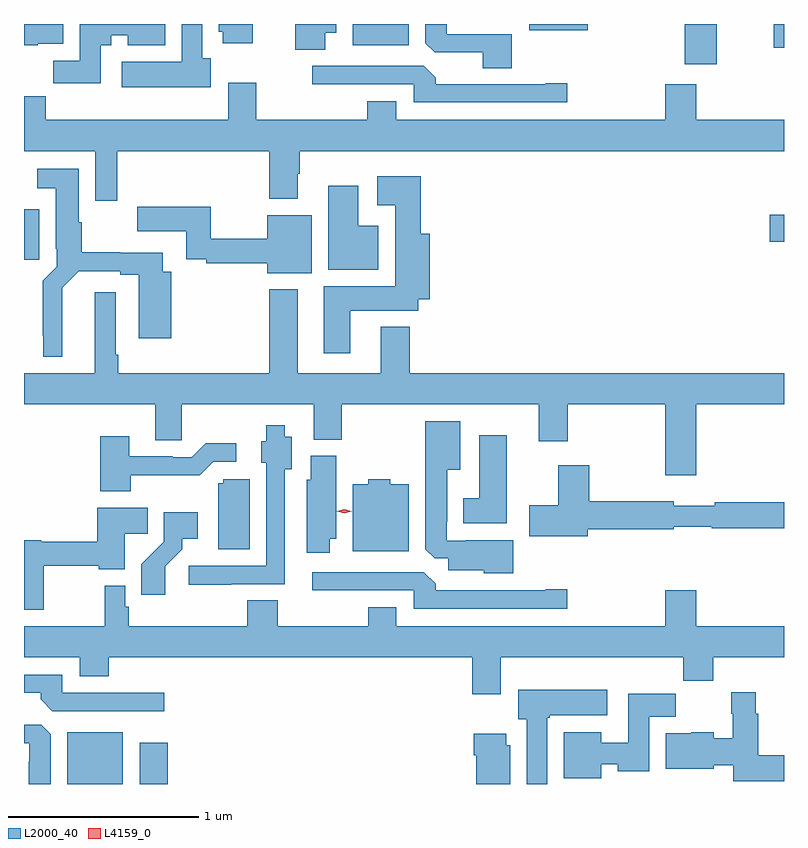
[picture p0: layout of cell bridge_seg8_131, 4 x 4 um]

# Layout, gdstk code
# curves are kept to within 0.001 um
import gdstk
lib = gdstk.Library(unit=1e-6, precision=1e-09)
def R(c, l, rs):  # rectangles x0, y0, x1, y1
    for r in rs: c.add(gdstk.rectangle(r[:2], r[2:], *l))
def P(c, l, *ps):  # polygons
    for p in ps: c.add(gdstk.Polygon(p, *l))
L2000_40 = (2000, 40)
L4159_0 = (4159, 0)

bridge_seg8_131 = lib.new_cell('bridge_seg8_131')
R(bridge_seg8_131, L2000_40, [(629.393,1157.125,629.686,1157.398), (629.774,1157.125,629.921,1157.341), (629.165,1159.884,629.245,1160.151), (633.09,1159.979,633.165,1160.121), (632.642,1160.913,632.812,1161.125), (633.11,1160.999,633.165,1161.125), (630.896,1161.014,631.189,1161.125), (631.824,1161.092,632.131,1161.125)])
P(bridge_seg8_131, L2000_40, [(630.148,1160.946),(630.103,1160.946),(630.103,1161.125),(629.996,1161.125),(629.996,1160.926),(629.679,1160.926),(629.679,1160.792),(630.148,1160.792)],
  [(630.37,1161.125),(630.191,1161.125),(630.191,1161.084),(630.212,1161.084),(630.212,1161.024),(630.37,1161.024)],
  [(630.751,1161.08),(630.808,1161.08),(630.808,1161.125),(630.593,1161.125),(630.593,1160.989),(630.751,1160.989)],
  [(631.733,1161.072),(631.389,1161.072),(631.389,1161.125),(631.277,1161.125),(631.277,1161.025),(631.326,1160.976),(631.58,1160.976),(631.58,1160.893),(631.733,1160.893)],
  [(629.569,1161.014),(629.623,1161.014),(629.623,1161.065),(629.711,1161.065),(629.711,1161.014),(629.908,1161.014),(629.908,1161.125),(629.459,1161.125),(629.459,1160.932),(629.32,1160.932),(629.32,1160.814),(629.569,1160.814)],
  [(629.238,1161.02),(629.371,1161.02),(629.371,1161.125),(629.165,1161.125),(629.165,1161.014),(629.238,1161.014)],
  [(632.023,1160.813),(631.91,1160.813),(631.91,1160.808),(631.331,1160.808),(631.331,1160.842),(631.269,1160.904),(630.681,1160.904),(630.681,1160.808),(631.215,1160.808),(631.215,1160.712),(632.023,1160.712)],
  [(629.657,1160.456),(630.455,1160.456),(630.455,1160.204),(630.607,1160.204),(630.607,1160.336),(630.615,1160.336),(630.615,1160.456),(633.165,1160.456),(633.165,1160.62),(632.704,1160.62),(632.704,1160.809),(632.54,1160.809),(632.54,1160.62),(631.123,1160.62),(631.123,1160.719),(630.971,1160.719),(630.971,1160.62),(630.387,1160.62),(630.387,1160.815),(630.239,1160.815),(630.239,1160.62),(629.279,1160.62),(629.279,1160.744),(629.165,1160.744),(629.165,1160.456),(629.541,1160.456),(629.541,1160.196),(629.657,1160.196)],
  [(629.365,1159.736),(629.452,1159.824),(629.672,1159.824),(629.672,1159.804),(629.768,1159.804),(629.768,1159.47),(629.939,1159.47),(629.939,1159.822),(629.896,1159.822),(629.896,1159.92),(629.672,1159.92),(629.672,1159.925),(629.47,1159.925),(629.47,1160.082),(629.452,1160.082),(629.452,1160.362),(629.235,1160.362),(629.235,1160.261),(629.333,1160.261),(629.333,1159.942),(629.337,1159.942),(629.337,1159.848),(629.263,1159.774),(629.263,1159.483),(629.267,1159.483),(629.267,1159.373),(629.365,1159.373)],
  [(630.883,1159.616),(631.24,1159.616),(631.24,1159.676),(631.3,1159.676),(631.3,1160.02),(631.253,1160.02),(631.253,1160.323),(631.023,1160.323),(631.023,1160.171),(631.118,1160.171),(631.118,1159.744),(630.743,1159.744),(630.743,1159.392),(630.883,1159.392)],
  [(631.03,1160.062),(630.925,1160.062),(630.925,1160.275),(630.767,1160.275),(630.767,1159.832),(631.03,1159.832)],
  [(630.679,1160.119),(630.446,1160.119),(630.446,1159.996),(630.148,1159.996),(630.148,1160.163),(629.76,1160.163),(629.76,1160.033),(630.02,1160.033),(630.02,1159.887),(630.124,1159.887),(630.124,1159.867),(630.446,1159.867),(630.446,1159.814),(630.679,1159.814)],
  [(632.704,1159.124),(633.165,1159.124),(633.165,1159.288),(631.196,1159.288),(631.196,1159.531),(631.043,1159.531),(631.043,1159.288),(630.607,1159.288),(630.607,1159.729),(630.455,1159.729),(630.455,1159.288),(629.66,1159.288),(629.66,1159.384),(629.647,1159.384),(629.647,1159.714),(629.537,1159.714),(629.537,1159.288),(629.165,1159.288),(629.165,1159.124),(629.855,1159.124),(629.855,1158.934),(629.994,1158.934),(629.994,1159.124),(630.689,1159.124),(630.689,1158.937),(630.837,1158.937),(630.837,1159.124),(631.874,1159.124),(631.874,1158.93),(632.027,1158.93),(632.027,1159.124),(632.54,1159.124),(632.54,1158.75),(632.704,1158.75)],
  [(631.741,1158.409),(631.489,1158.409),(631.489,1158.405),(631.389,1158.405),(631.389,1158.505),(631.393,1158.505),(631.393,1158.779),(631.462,1158.779),(631.462,1159.033),(631.277,1159.033),(631.277,1158.361),(631.326,1158.312),(631.397,1158.312),(631.397,1158.251),(631.584,1158.251),(631.584,1158.233),(631.741,1158.233)],
  [(630.257,1158.177),(630.537,1158.177),(630.537,1158.782),(630.574,1158.782),(630.574,1158.952),(630.538,1158.952),(630.538,1159.012),(630.44,1159.012),(630.44,1158.93),(630.413,1158.93),(630.413,1158.816),(630.441,1158.816),(630.441,1158.273),(630.033,1158.273),(630.033,1158.175),(630.257,1158.175)],
  [(631.705,1158.961),(631.562,1158.961),(631.562,1158.628),(631.478,1158.628),(631.478,1158.497),(631.705,1158.497)],
  [(629.727,1158.75),(630.089,1158.749),(630.162,1158.822),(630.283,1158.822),(630.283,1158.919),(630.121,1158.919),(630.048,1158.846),(629.948,1158.846),(629.948,1158.849),(629.719,1158.849),(629.719,1158.955),(629.567,1158.955),(629.567,1158.665),(629.727,1158.665)],
  [(630.775,1158.416),(630.808,1158.416),(630.808,1158.852),(630.674,1158.852),(630.674,1158.726),(630.653,1158.726),(630.653,1158.342),(630.775,1158.342)],
  [(632.131,1158.467),(632.586,1158.467),(632.586,1158.48),(632.786,1158.48),(632.786,1158.472),(633.165,1158.472),(633.165,1158.608),(632.8,1158.608),(632.8,1158.589),(632.586,1158.589),(632.586,1158.614),(632.139,1158.614),(632.139,1158.802),(631.976,1158.802),(631.976,1158.591),(631.824,1158.591),(631.824,1158.428),(632.131,1158.428)],
  [(631.189,1158.703),(631.092,1158.703),(631.092,1158.73),(630.978,1158.73),(630.978,1158.703),(630.896,1158.703),(630.896,1158.35),(631.189,1158.35)],
  [(630.352,1158.729),(630.213,1158.729),(630.213,1158.708),(630.188,1158.708),(630.188,1158.36),(630.352,1158.36)],
  [(629.268,1158.273),(629.558,1158.273),(629.558,1158.254),(629.695,1158.254),(629.695,1158.442),(629.816,1158.442),(629.816,1158.58),(629.551,1158.58),(629.551,1158.401),(629.256,1158.401),(629.256,1158.409),(629.165,1158.409),(629.165,1158.042),(629.268,1158.042)],
  [(629.908,1158.271),(629.998,1158.361),(629.998,1158.416),(630.079,1158.416),(630.079,1158.556),(629.901,1158.556),(629.901,1158.401),(629.782,1158.282),(629.782,1158.12),(629.908,1158.12)],
  [(632.023,1158.149),(631.91,1158.149),(631.91,1158.144),(631.331,1158.144),(631.331,1158.178),(631.269,1158.24),(630.681,1158.24),(630.681,1158.144),(631.215,1158.144),(631.215,1158.048),(632.023,1158.048)],
  [(631.675,1157.792),(632.635,1157.792),(632.635,1157.668),(632.792,1157.668),(632.792,1157.792),(633.165,1157.792),(633.165,1157.956),(632.704,1157.956),(632.704,1158.145),(632.54,1158.145),(632.54,1157.956),(631.123,1157.956),(631.123,1158.055),(630.976,1158.055),(630.976,1157.956),(630.501,1157.956),(630.501,1158.092),(630.341,1158.092),(630.341,1157.956),(629.717,1157.956),(629.717,1158.057),(629.697,1158.057),(629.697,1158.169),(629.589,1158.169),(629.589,1157.956),(629.165,1157.956),(629.165,1157.792),(629.459,1157.792),(629.459,1157.693),(629.612,1157.693),(629.612,1157.792),(631.523,1157.792),(631.523,1157.598),(631.675,1157.598)],
  [(629.902,1157.604),(629.367,1157.604),(629.367,1157.7),(629.165,1157.7),(629.165,1157.604),(629.252,1157.604),(629.252,1157.57),(629.313,1157.508),(629.902,1157.508)],
  [(631.918,1157.473),(631.932,1157.473),(631.932,1157.486),(632.236,1157.486),(632.236,1157.62),(631.766,1157.62),(631.766,1157.466),(631.811,1157.466),(631.811,1157.125),(631.918,1157.125)],
  [(633.165,1157.276),(633.029,1157.276),(633.029,1157.495),(633.016,1157.495),(633.016,1157.608),(632.887,1157.608),(632.887,1157.494),(632.894,1157.494),(632.894,1157.367),(632.794,1157.367),(632.794,1157.398),(632.676,1157.398),(632.676,1157.392),(632.543,1157.392),(632.543,1157.204),(632.794,1157.204),(632.794,1157.223),(632.898,1157.223),(632.898,1157.14),(633.165,1157.14)],
  [(632.203,1157.228),(632.291,1157.228),(632.291,1157.192),(632.455,1157.192),(632.455,1157.48),(632.594,1157.48),(632.594,1157.599),(632.345,1157.599),(632.345,1157.342),(632.203,1157.342),(632.203,1157.398),(632.006,1157.398),(632.006,1157.156),(632.203,1157.156)],
  [(629.305,1157.387),(629.256,1157.436),(629.165,1157.436),(629.165,1157.34),(629.193,1157.34),(629.193,1157.243),(629.189,1157.243),(629.189,1157.125),(629.305,1157.125)],
  [(631.723,1157.328),(631.702,1157.328),(631.702,1157.389),(631.532,1157.389),(631.532,1157.276),(631.544,1157.276),(631.544,1157.125),(631.723,1157.125)])
P(bridge_seg8_131, L4159_0, [(630.85,1158.55),(630.812,1158.56),(630.812,1158.56),(630.812,1158.56),(630.85,1158.57),(630.889,1158.56),(630.889,1158.56),(630.889,1158.56)])

lib.write_gds('bridge_seg8_131.gds')
